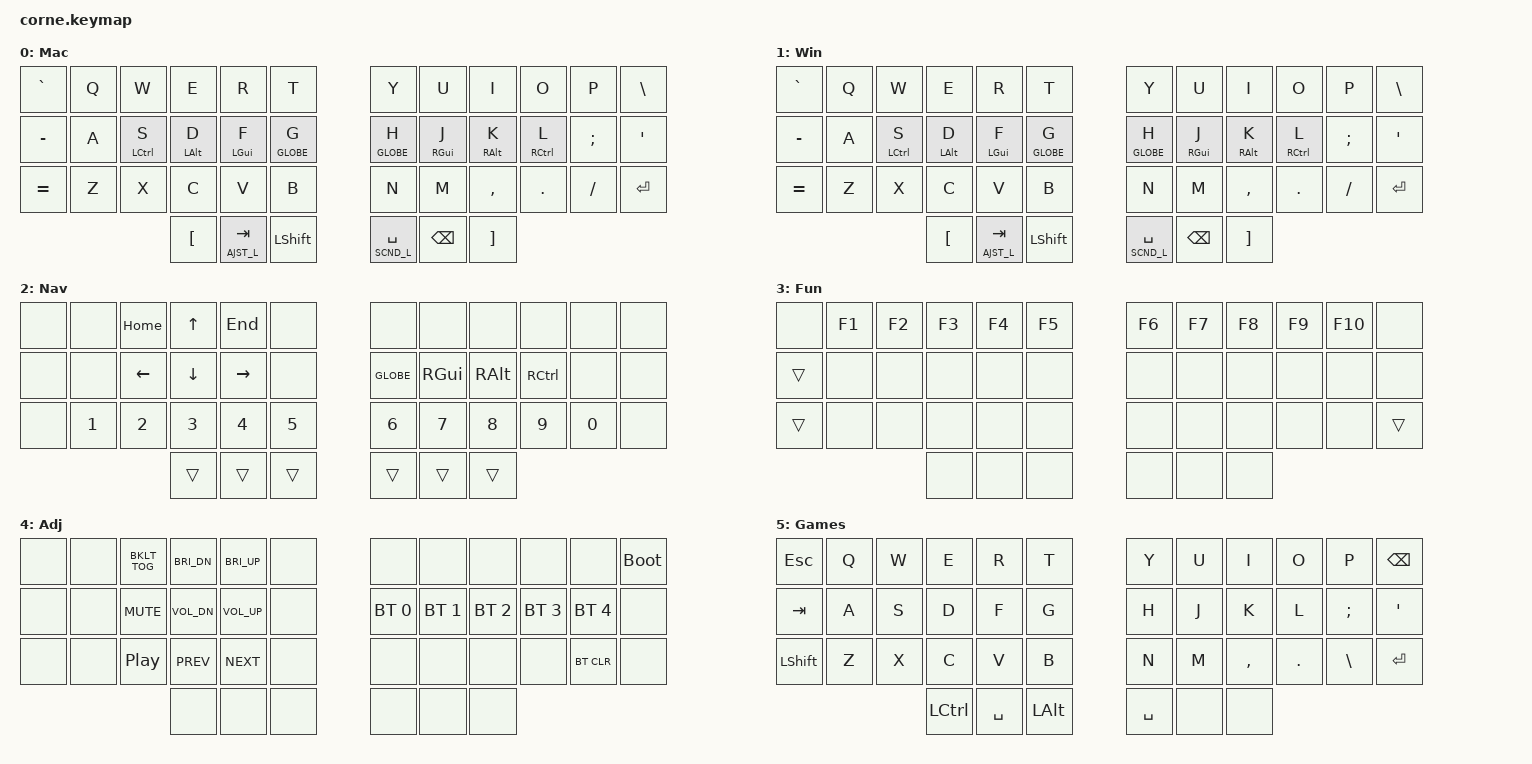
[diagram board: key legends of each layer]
/*
 * Copyright (c) 2020 The ZMK Contributors
 *
 * SPDX-License-Identifier: MIT
 */

#include <behaviors.dtsi>
#include <dt-bindings/zmk/keys.h>
#include <dt-bindings/zmk/bt.h>
#include <dt-bindings/zmk/matrix_transform.h>

#define MAC_L 0
#define WIN_L 1
#define SCND_L 2
#define FUNC_L 3
#define AJST_L 4
#define GAME_L 5

/ {
        behaviors {
                hm: homerow_mods {
                        compatible = "zmk,behavior-hold-tap";
                        label = "HOMEROW_MODS";
                        #binding-cells = <2>;
                        tapping-term-ms = <200>;
                        quick-tap-ms = <200>;
                        require-prior-idle-ms = <150>;
                        flavor = "tap-preferred";
                        bindings = <&kp>, <&kp>;
                };

                bspc_del: backspace_delete {
                        compatible = "zmk,behavior-mod-morph";
                        #binding-cells = <0>;
                        bindings = <&kp BACKSPACE>, <&kp DELETE>;
                        mods = <(MOD_LSFT|MOD_RSFT)>;
                        keep-mods = <(MOD_RSFT)>;
                };
        };

        combos {
                compatible = "zmk,combos";

                combo_escape {
                        timeout-ms = <50>;
                        key-positions = <14 15>;
                        bindings = <&kp ESC>;
                        layers = <MAC_L WIN_L SCND_L FUNC_L>;
                };

                combo_tab {
                        timeout-ms = <50>;
                        key-positions = <15 16>;
                        bindings = <&kp TAB>;
                        layers = <MAC_L WIN_L SCND_L FUNC_L>;
                };

                combo_backspace {
                        timeout-ms = <50>;
                        key-positions = <19 20>;
                        bindings = <&bspc_del>;
                        layers = <MAC_L WIN_L SCND_L FUNC_L>;
                };

                combo_enter {
                        timeout-ms = <50>;
                        key-positions = <20 21>;
                        bindings = <&kp ENTER>;
                        layers = <MAC_L WIN_L SCND_L FUNC_L>;
                };

                combo_undo_mac {
                        timeout-ms = <50>;
                        key-positions = <25 26>;
                        bindings = <&kp LG(Z)>;
                        layers = <MAC_L>;
                };

                combo_undo_win {
                        timeout-ms = <50>;
                        key-positions = <25 26>;
                        bindings = <&kp LC(Z)>;
                        layers = <WIN_L>;
                };

                combo_cut_mac {
                        timeout-ms = <50>;
                        key-positions = <26 27>;
                        bindings = <&kp LG(X)>;
                        layers = <MAC_L>;
                };

                combo_cut_win {
                        timeout-ms = <50>;
                        key-positions = <26 27>;
                        bindings = <&kp LC(X)>;
                        layers = <WIN_L>;
                };

                combo_copy_mac {
                        timeout-ms = <50>;
                        key-positions = <27 28>;
                        bindings = <&kp LG(C)>;
                        layers = <MAC_L>;
                };

                combo_copy_win {
                        timeout-ms = <50>;
                        key-positions = <27 28>;
                        bindings = <&kp LC(C)>;
                        layers = <WIN_L>;
                };

                combo_paste_mac {
                        timeout-ms = <50>;
                        key-positions = <28 29>;
                        bindings = <&kp LG(V)>;
                        layers = <MAC_L>;
                };

                combo_paste_win {
                        timeout-ms = <50>;
                        key-positions = <28 29>;
                        bindings = <&kp LC(V)>;
                        layers = <WIN_L>;
                };

                combo_delete_word_mac{
                        timeout-ms = <50>;
                        key-positions = <18 19>;
                        bindings = <&kp LA(BACKSPACE)>;
                        layers = <MAC_L>;
                };

                combo_delete_word_win{
                        timeout-ms = <50>;
                        key-positions = <18 19>;
                        bindings = <&kp LC(BACKSPACE)>;
                        layers = <WIN_L>;
                };

                combo_left_desktop_mac {
                        timeout-ms = <50>;
                        key-positions = <31 32>;
                        bindings = <&kp LC(LEFT_ARROW)>;
                        layers = <MAC_L>;
                };

                combo_right_desktop_mac {
                        timeout-ms = <50>;
                        key-positions = <32 33>;
                        bindings = <&kp LC(RIGHT_ARROW)>;
                        layers = <MAC_L>;
                };

                combo_left_desktop_win {
                        timeout-ms = <50>;
                        key-positions = <31 32>;
                        bindings = <&kp LC(LG(LEFT_ARROW))>;
                        layers = <WIN_L>;
                };

                combo_right_desktop_win {
                        timeout-ms = <50>;
                        key-positions = <32 33>;
                        bindings = <&kp LC(LG(RIGHT_ARROW))>;
                        layers = <WIN_L>;
                };

                combo_change_mode {
                        timeout-ms = <50>;
                        key-positions = <36 41>;
                        bindings = <&tog WIN_L>;
                };

                combo_game_layer {
                        timeout-ms = <50>;
                        key-positions = <11 35>;
                        bindings = <&tog GAME_L>;
                };
        };

        keymap {
                compatible = "zmk,keymap";

                mac_layer {
                        display-name = "Mac";
                        bindings = <
                                &kp GRAVE &kp Q &kp W       &kp E      &kp R      &kp T           &kp Y       &kp U      &kp I      &kp O       &kp P    &kp BSLH
                                &kp MINUS &kp A &hm LCTRL S &hm LALT D &hm LGUI F &hm GLOBE G     &hm GLOBE H &hm RGUI J &hm RALT K &hm RCTRL L &kp SEMI &kp SQT
                                &kp EQUAL &kp Z &kp X       &kp C      &kp V      &kp B           &kp N       &kp M      &kp COMMA  &kp DOT     &kp FSLH &kp ENTER
                                                          &kp LBKT &lt AJST_L TAB &kp LSHIFT     &lt SCND_L SPACE &kp BACKSPACE &kp RBKT
                        >;
                };

                win_layer {
                        display-name = "Win";
                        bindings = <
                                &kp GRAVE &kp Q &kp W       &kp E      &kp R      &kp T           &kp Y       &kp U      &kp I      &kp O       &kp P    &kp BSLH
                                &kp MINUS &kp A &hm LCTRL S &hm LALT D &hm LGUI F &hm GLOBE G     &hm GLOBE H &hm RGUI J &hm RALT K &hm RCTRL L &kp SEMI &kp SQT
                                &kp EQUAL &kp Z &kp X       &kp C      &kp V      &kp B           &kp N       &kp M      &kp COMMA  &kp DOT     &kp FSLH &kp ENTER
                                                          &kp LBKT &lt AJST_L TAB &kp LSHIFT     &lt SCND_L SPACE &kp BACKSPACE &kp RBKT
                        >;
                };

                secondary_layer {
                        display-name = "Nav";
                        bindings = <
                                &none &none  &kp HOME &kp UP   &kp END   &none        &none     &none     &none     &none     &none  &none
                                &none &none  &kp LEFT &kp DOWN &kp RIGHT &none        &kp GLOBE &kp RGUI  &kp RALT  &kp RCTRL &none  &none
                                &none &kp N1 &kp N2   &kp N3   &kp N4    &kp N5       &kp N6    &kp N7    &kp N8    &kp N9    &kp N0 &none
                                                             &trans &trans &trans     &trans &trans &trans
                        >;
                };

                function_layer {
                        display-name = "Fun";
                        bindings = <
                                &none  &kp F1 &kp F2 &kp F3 &kp F4 &kp F5     &kp F6 &kp F7 &kp F8 &kp F9 &kp F10 &none
                                &trans &none  &none  &none  &none  &none      &none  &none  &none  &none  &none   &none
                                &trans &none  &none  &none  &none  &none      &none  &none  &none  &none  &none   &trans
                                                       &none &none &none      &none &none &none
                        >;
                };

                adjust_layer {
                        display-name = "Adj";
                        bindings = <
                                &none &none &kp C_BKLT_TOG   &kp C_BRI_DN &kp C_BRI_UP &none     &none        &none        &none        &none        &none        &bootloader
                                &none &none &kp C_MUTE       &kp C_VOL_DN &kp C_VOL_UP &none     &bt BT_SEL 0 &bt BT_SEL 1 &bt BT_SEL 2 &bt BT_SEL 3 &bt BT_SEL 4 &none
                                &none &none &kp C_PLAY_PAUSE &kp C_PREV   &kp C_NEXT   &none     &none        &none        &none        &none        &bt BT_CLR   &none
                                                                           &none &none &none     &none &none &none
                        >;
                };

                game_layer {
                        display-name = "Games";
                        bindings = <
                                &kp ESC    &kp Q &kp W &kp E &kp R &kp T     &kp Y &kp U &kp I     &kp O      &kp P         &kp BACKSPACE
                                &kp TAB    &kp A &kp S &kp D &kp F &kp G     &kp H &kp J &kp K     &kp L      &kp SEMI      &kp SQT
                                &kp LSHIFT &kp Z &kp X &kp C &kp V &kp B     &kp N &kp M &kp COMMA &kp PERIOD &kp BACKSLASH &kp ENTER
                                            &kp LCTRL &kp SPACE &kp LALT     &kp SPACE &none &none
                        >;
                };
        };
};
